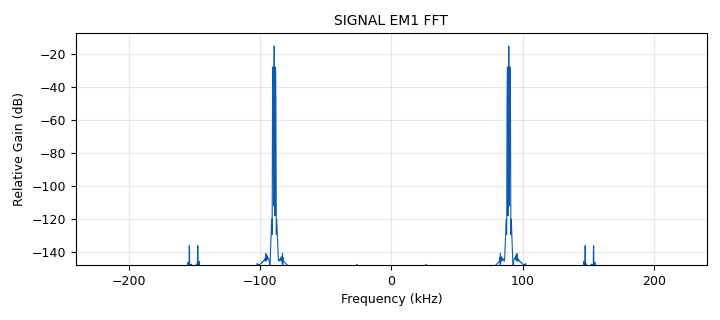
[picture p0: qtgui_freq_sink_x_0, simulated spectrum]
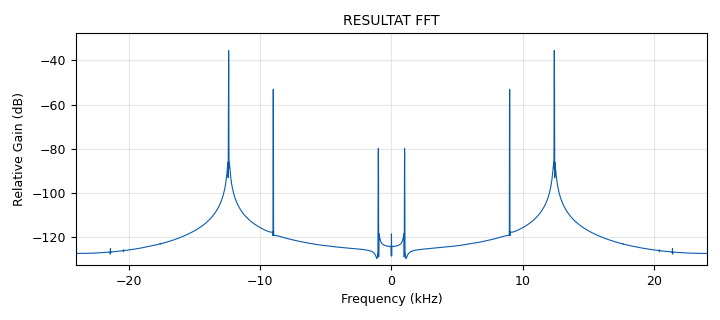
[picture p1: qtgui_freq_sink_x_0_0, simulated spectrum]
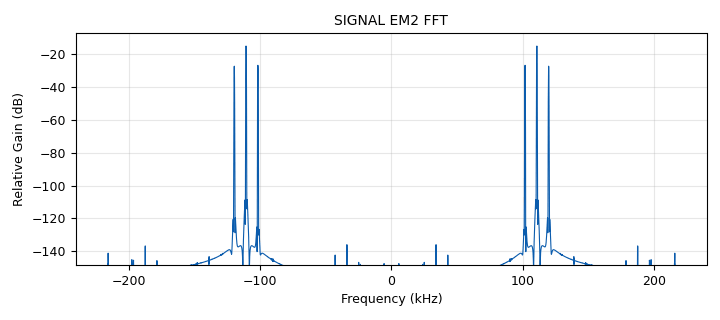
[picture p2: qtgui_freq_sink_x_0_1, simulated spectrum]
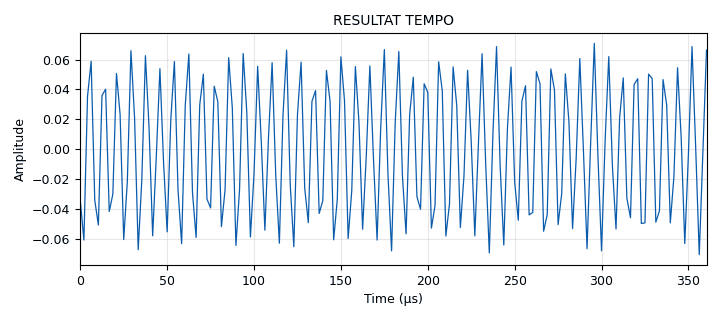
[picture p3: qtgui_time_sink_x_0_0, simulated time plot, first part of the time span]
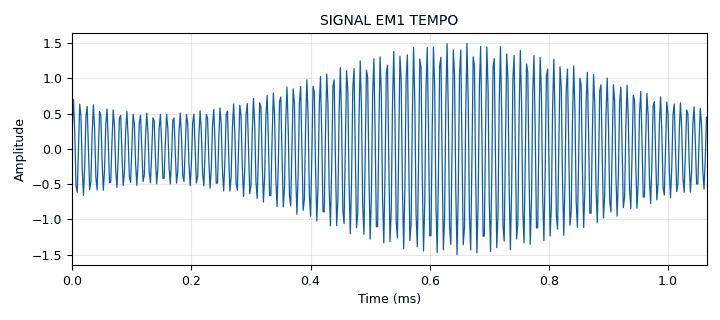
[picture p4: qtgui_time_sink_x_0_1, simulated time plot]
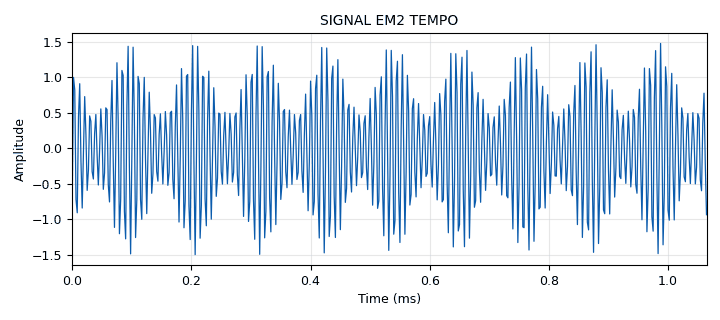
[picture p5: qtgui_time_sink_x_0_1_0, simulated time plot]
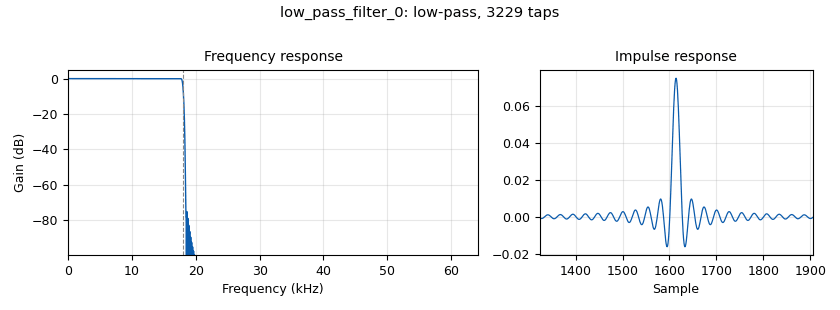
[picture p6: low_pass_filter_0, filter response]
options:
  parameters:
    generate_options: qt_gui
    id: TPpart2
    output_language: python
    title: Not titled yet
  states: {}

blocks:
- name: samp_rate
  id: variable
  parameters:
    value: 480.E3
  states: {}
- name: analog_sig_source_x_0
  id: analog_sig_source_x
  parameters:
    amp: 1/2
    freq: '1000'
    offset: '0'
    phase: '0'
    samp_rate: samp_rate
    type: float
    waveform: analog.GR_SIN_WAVE
  states: {}
- name: analog_sig_source_x_0_0
  id: analog_sig_source_x
  parameters:
    amp: '1'
    freq: 89.3E3
    offset: '0'
    phase: '0'
    samp_rate: samp_rate
    type: float
    waveform: analog.GR_SIN_WAVE
  states: {}
- name: analog_sig_source_x_0_0_0
  id: analog_sig_source_x
  parameters:
    alias: OSCILLATEUR HETERODYNE
    amp: '1'
    freq: 100.E3
    offset: '0'
    phase: '0'
    samp_rate: samp_rate
    type: float
    waveform: analog.GR_SIN_WAVE
  states: {}
- name: analog_sig_source_x_0_0_0_0
  id: analog_sig_source_x
  parameters:
    amp: '1'
    freq: 10.7e3
    offset: '0'
    phase: '0'
    samp_rate: samp_rate
    type: float
    waveform: analog.GR_SIN_WAVE
  states: {}
- name: analog_sig_source_x_0_0_1
  id: analog_sig_source_x
  parameters:
    amp: 1/2
    freq: '9000'
    offset: '0'
    phase: '0'
    samp_rate: samp_rate
    type: float
    waveform: analog.GR_SIN_WAVE
  states: {}
- name: analog_sig_source_x_0_1
  id: analog_sig_source_x
  parameters:
    amp: '1'
    freq: 110.7E3
    offset: '0'
    phase: '0'
    samp_rate: samp_rate
    type: float
    waveform: analog.GR_SIN_WAVE
  states: {}
- name: blocks_add_xx_0
  id: blocks_add_xx
  parameters:
    type: float
  states: {}
- name: blocks_add_xx_0_0
  id: blocks_add_xx
  parameters:
    type: float
  states: {}
- name: blocks_add_xx_0_1
  id: blocks_add_xx
  parameters:
    type: float
  states: {}
- name: blocks_multiply_xx_0
  id: blocks_multiply_xx
  parameters:
    type: float
  states: {}
- name: blocks_multiply_xx_0_0
  id: blocks_multiply_xx
  parameters:
    type: float
  states: {}
- name: blocks_multiply_xx_0_0_0
  id: blocks_multiply_xx
  parameters:
    type: float
  states: {}
- name: blocks_multiply_xx_0_1
  id: blocks_multiply_xx
  parameters:
    type: float
  states: {}
- name: dc_blocker_xx_0
  id: dc_blocker_xx
  parameters:
    length: '32'
    long_form: 'True'
    type: ff
  states: {}
- name: low_pass_filter_0
  id: low_pass_filter
  parameters:
    cutoff_freq: '18000'
    gain: '1'
    interp: '1'
    samp_rate: 480e3
    type: interp_fir_filter_fff
    width: '500'
    win: window.WIN_BLACKMAN
  states: {}
- name: qtgui_freq_sink_x_0
  id: qtgui_freq_sink_x
  parameters:
    autoscale: 'True'
    bw: samp_rate
    color1: '"dark red"'
    ctrlpanel: 'True'
    fc: '0'
    fftsize: '4096'
    gui_hint: 0,1
    name: SIGNAL EM1 FFT
    type: float
  states: {}
- name: qtgui_freq_sink_x_0_0
  id: qtgui_freq_sink_x
  parameters:
    autoscale: 'True'
    bw: samp_rate/ 10
    color1: '"dark red"'
    ctrlpanel: 'True'
    fc: '0'
    fftsize: '4096'
    gui_hint: 2,1
    name: RESULTAT FFT
    type: float
    wintype: window.WIN_HAMMING
  states: {}
- name: qtgui_freq_sink_x_0_1
  id: qtgui_freq_sink_x
  parameters:
    autoscale: 'True'
    bw: samp_rate
    color1: '"dark red"'
    ctrlpanel: 'True'
    fc: '0'
    fftsize: '4096'
    gui_hint: 1,1
    name: SIGNAL EM2 FFT
    type: float
  states: {}
- name: qtgui_time_sink_x_0_0
  id: qtgui_time_sink_x
  parameters:
    autoscale: 'True'
    gui_hint: 2,0
    name: RESULTAT TEMPO
    size: '512'
    srate: samp_rate
    type: float
  states: {}
- name: qtgui_time_sink_x_0_1
  id: qtgui_time_sink_x
  parameters:
    autoscale: 'True'
    ctrlpanel: 'True'
    gui_hint: 0,0
    name: SIGNAL EM1 TEMPO
    size: '512'
    srate: samp_rate
    type: float
  states: {}
- name: qtgui_time_sink_x_0_1_0
  id: qtgui_time_sink_x
  parameters:
    autoscale: 'True'
    ctrlpanel: 'True'
    gui_hint: 1,0
    name: SIGNAL EM2 TEMPO
    size: '512'
    srate: samp_rate
    type: float
  states: {}
- name: rational_resampler_xxx_0
  id: rational_resampler_xxx
  parameters:
    decim: '10'
    interp: '1'
    type: fff
  states: {}

connections:
- [analog_sig_source_x_0, '0', blocks_multiply_xx_0, '0']
- [analog_sig_source_x_0_0, '0', blocks_add_xx_0, '1']
- [analog_sig_source_x_0_0, '0', blocks_multiply_xx_0, '1']
- [analog_sig_source_x_0_0_0, '0', blocks_multiply_xx_0_0, '1']
- [analog_sig_source_x_0_0_0_0, '0', blocks_multiply_xx_0_0_0, '1']
- [analog_sig_source_x_0_0_1, '0', blocks_multiply_xx_0_1, '0']
- [analog_sig_source_x_0_1, '0', blocks_add_xx_0_0, '1']
- [analog_sig_source_x_0_1, '0', blocks_multiply_xx_0_1, '1']
- [blocks_add_xx_0, '0', blocks_add_xx_0_1, '0']
- [blocks_add_xx_0, '0', qtgui_freq_sink_x_0, '0']
- [blocks_add_xx_0, '0', qtgui_time_sink_x_0_1, '0']
- [blocks_add_xx_0_0, '0', blocks_add_xx_0_1, '1']
- [blocks_add_xx_0_0, '0', qtgui_freq_sink_x_0_1, '0']
- [blocks_add_xx_0_0, '0', qtgui_time_sink_x_0_1_0, '0']
- [blocks_add_xx_0_1, '0', blocks_multiply_xx_0_0, '0']
- [blocks_multiply_xx_0, '0', blocks_add_xx_0, '0']
- [blocks_multiply_xx_0_0, '0', blocks_multiply_xx_0_0_0, '0']
- [blocks_multiply_xx_0_0_0, '0', low_pass_filter_0, '0']
- [blocks_multiply_xx_0_1, '0', blocks_add_xx_0_0, '0']
- [dc_blocker_xx_0, '0', rational_resampler_xxx_0, '0']
- [low_pass_filter_0, '0', dc_blocker_xx_0, '0']
- [rational_resampler_xxx_0, '0', qtgui_freq_sink_x_0_0, '0']
- [rational_resampler_xxx_0, '0', qtgui_time_sink_x_0_0, '0']

metadata:
  file_format: 1
  grc_version: 3.10.6.0
